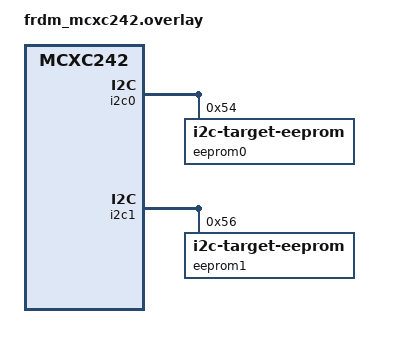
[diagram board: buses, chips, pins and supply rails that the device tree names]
/*
 * Copyright (c) 2025 Maximilian Werner <maximilian.werner96@gmail.com>
 *
 * SPDX-License-Identifier: Apache-2.0
 */

#include <nxp/mcx/MCXC242VLH-pinctrl.h>

&pinctrl {
	pinmux_i2c0: pinmux_i2c0 {
		group0 {
			pinmux = <I2C0_SCL_PTB0>,
				 <I2C0_SDA_PTB1>;
			drive-strength = "low";
			drive-open-drain;
			slew-rate = "fast";
		};
	};

	pinmux_i2c1: pinmux_i2c1 {
		group0 {
			pinmux = <I2C1_SCL_PTD7>,
				 <I2C1_SDA_PTD6>;
			drive-strength = "low";
			drive-open-drain;
			slew-rate = "fast";
		};
	};
};

/* To test this sample, connect
 * I2C0 SCL(J4-12, PTB0) --> I2C1 SCL(J2-20, PTD7)
 * I2C0 SDA(J4-10, PTB1) --> I2C1 SDA(J2-18, PTD6)
 */
&i2c0 {
	pinctrl-0 = <&pinmux_i2c0>;
	pinctrl-names = "default";
	status = "okay";

	eeprom0: eeprom@54 {
		compatible = "zephyr,i2c-target-eeprom";
		reg = <0x54>;
		size = <256>;
	};
};

&i2c1 {
	pinctrl-0 = <&pinmux_i2c1>;
	pinctrl-names = "default";
	status = "okay";

	eeprom1: eeprom@56 {
		compatible = "zephyr,i2c-target-eeprom";
		reg = <0x56>;
		size = <256>;
	};
};
